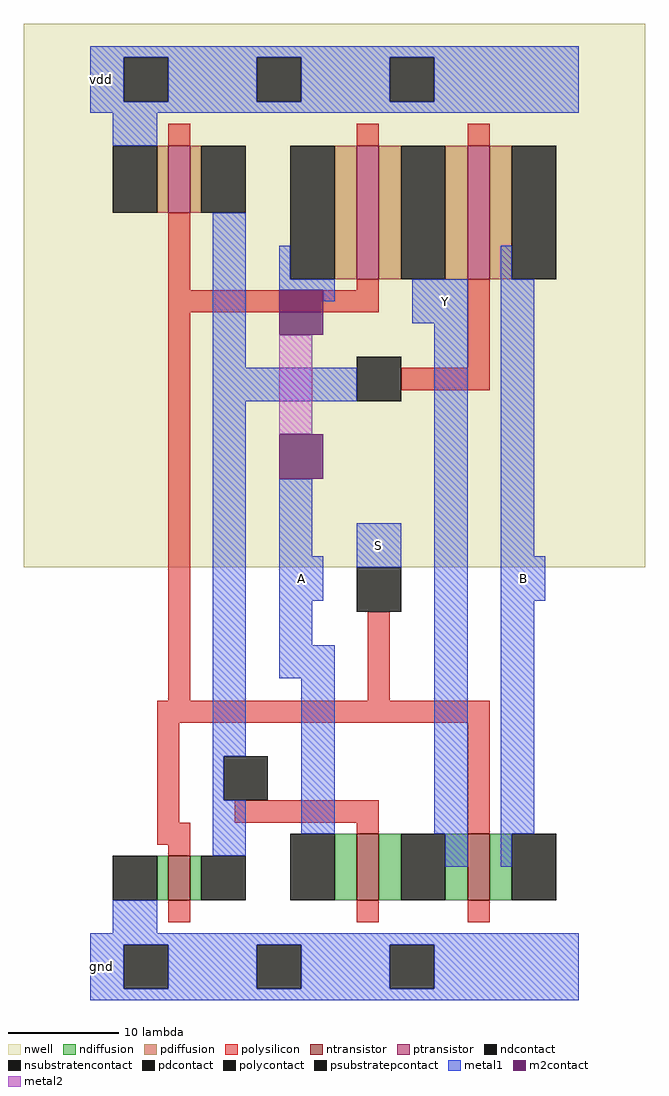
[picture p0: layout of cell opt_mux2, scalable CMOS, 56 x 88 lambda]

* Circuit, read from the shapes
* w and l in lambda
.subckt opt_mux2 A B S Y vdd gnd
M1 n1 S gnd gnd nfet w=4 l=2
M2 Y n1 A gnd nfet w=6 l=2
M3 B S Y gnd nfet w=6 l=2
M4 n1 S vdd vdd pfet w=6 l=2
M5 Y S A vdd pfet w=12 l=2
M6 B n1 Y vdd pfet w=12 l=2
.ends

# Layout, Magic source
magic
tech scmos
<< nwell >>
rect -6 36 50 85
<< ndiffusion >>
rect 6 6 7 10
rect 9 6 10 10
rect 22 6 24 12
rect 26 6 28 12
rect 32 6 34 12
rect 36 6 38 12
<< pdiffusion >>
rect 22 62 24 74
rect 26 62 28 74
rect 32 62 34 74
rect 36 62 38 74
rect 6 68 7 74
rect 9 68 10 74
<< polysilicon >>
rect 7 4 9 6
rect 24 4 26 6
rect 34 4 36 6
rect 7 10 9 11
rect 6 11 9 13
rect 24 12 26 13
rect 34 12 36 22
rect 6 13 8 22
rect 13 13 26 15
rect 6 22 36 24
rect 7 24 9 59
rect 25 24 27 32
rect 28 52 36 54
rect 34 54 36 62
rect 7 59 26 61
rect 7 61 9 68
rect 24 61 26 62
rect 7 74 9 76
rect 24 74 26 76
rect 34 74 36 76
<< ntransistor >>
rect 7 6 9 10
rect 24 6 26 12
rect 34 6 36 12
<< ptransistor >>
rect 24 62 26 74
rect 34 62 36 74
rect 7 68 9 74
<< ndcontact >>
rect 2 6 6 10
rect 10 6 14 10
rect 18 6 22 12
rect 28 6 32 12
rect 38 6 42 12
<< pdcontact >>
rect 18 62 22 74
rect 28 62 32 74
rect 38 62 42 74
rect 2 68 6 74
rect 10 68 14 74
<< polycontact >>
rect 12 15 16 19
rect 24 32 28 36
rect 24 51 28 55
<< psubstratepcontact >>
rect 3 -2 7 2
rect 15 -2 19 2
rect 27 -2 31 2
<< nsubstratencontact >>
rect 3 78 7 82
rect 15 78 19 82
rect 27 78 31 82
<< metal1 >>
rect 0 -3 44 -2
rect 0 -2 3 2
rect 7 -2 15 2
rect 19 -2 27 2
rect 31 -2 44 2
rect 0 2 44 3
rect 2 3 6 6
rect 32 9 34 12
rect 37 9 38 12
rect 11 10 14 15
rect 19 12 22 26
rect 31 12 34 58
rect 37 12 40 33
rect 11 15 12 19
rect 11 19 14 51
rect 17 26 22 29
rect 17 29 20 33
rect 17 33 21 37
rect 37 33 41 37
rect 24 36 28 40
rect 17 37 20 44
rect 37 37 40 62
rect 11 51 24 54
rect 11 54 14 68
rect 29 58 34 62
rect 21 60 22 61
rect 17 61 22 62
rect 17 62 18 65
rect 37 62 38 65
rect 2 74 6 77
rect 0 77 44 78
rect 0 78 3 82
rect 7 78 15 82
rect 19 78 27 82
rect 31 78 44 82
rect 0 82 44 83
<< m2contact >>
rect 17 44 21 48
rect 17 57 21 61
<< metal2 >>
rect 17 48 20 57
<< labels >>
rlabel metal1 s 17 33 21 37 0 A
port 1 nsew signal input
rlabel metal1 s 37 33 41 37 0 B
port 2 nsew signal input
rlabel metal1 s 24 36 28 40 0 S
port 3 nsew signal input
rlabel metal1 s 30 58 34 62 0 Y
port 4 nsew signal output
rlabel metal1 s 0 77 2 83 0 vdd
port 5 nsew power bidirectional
rlabel metal1 s 0 -3 2 3 0 gnd
port 6 nsew ground bidirectional
<< properties >>
string FIXED_BBOX 0 0 44 80
<< end >>
